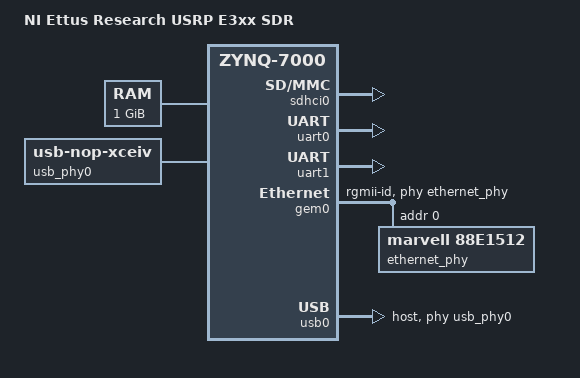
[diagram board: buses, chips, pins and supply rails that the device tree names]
/*
 *  Copyright (C) 2015 National Instruments Corp. All rights reserved.
 *
 * This software is licensed under the terms of the GNU General Public
 * License version 2, as published by the Free Software Foundation, and
 * may be copied, distributed, and modified under those terms.
 *
 * This program is distributed in the hope that it will be useful,
 * but WITHOUT ANY WARRANTY; without even the implied warranty of
 * MERCHANTABILITY or FITNESS FOR A PARTICULAR PURPOSE.  See the
 * GNU General Public License for more details.
 */

/dts-v1/;
#include "zynq-7000.dtsi"

/ {
	model = "NI Ettus Research USRP E3xx SDR";
	compatible = "ettus,zynq-e3xx", "xlnx,zynq-7000";

	aliases {
		ethernet0 = &gem0;
		serial0 = &uart0;
	};

	memory {
		device_type = "memory";
		reg = <0x0 0x40000000>;
	};

	chosen {
		bootargs = "earlyprintk";
		stdout-path = "serial0:115200n8";
	};

	usb_phy0: phy0 {
		compatible = "usb-nop-xceiv";
		#phy-cells = <0>;
	};
};

&sdhci0 {
	status = "okay";
};

&uart0 {
	status = "okay";
};

&uart1 {
	status = "okay";
};

&gem0 {
	status = "okay";
	phy-mode = "rgmii-id";
	phy-handle = <&ethernet_phy>;

	ethernet_phy: ethernet-phy@0 {
		compatible = "marvell,88e1512";
		reg = <0>;
	};
};

&usb0 {
	status = "okay";
	dr_mode = "host";
	usb-phy = <&usb_phy0>;
};
